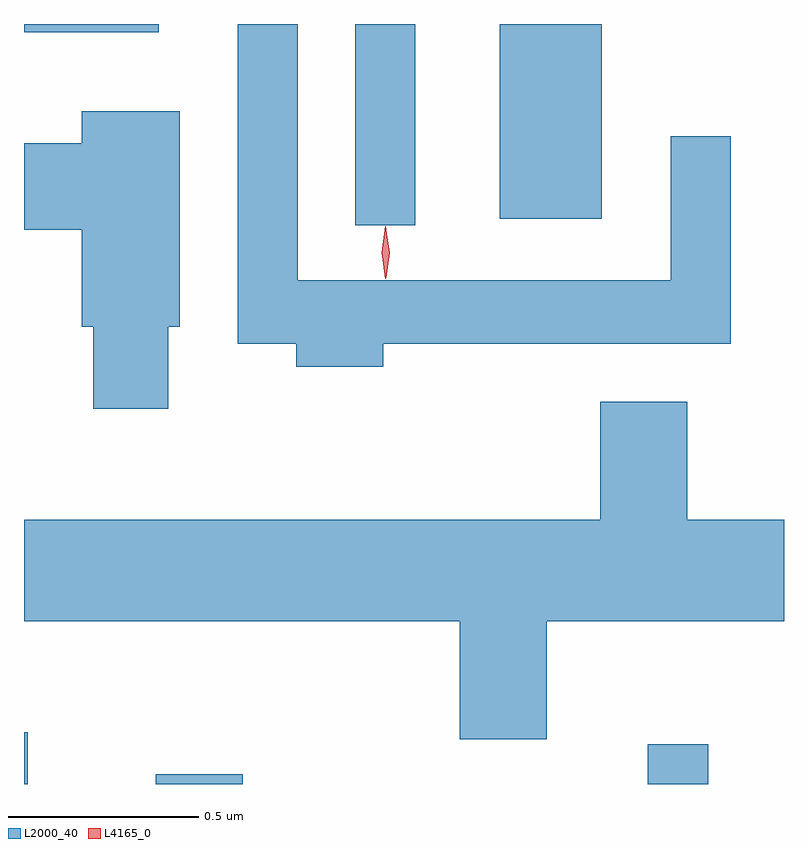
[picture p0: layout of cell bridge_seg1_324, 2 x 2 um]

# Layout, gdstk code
import gdstk
lib = gdstk.Library(unit=1e-6, precision=1e-09)
def R(c, l, rs):  # rectangles x0, y0, x1, y1
    for r in rs: c.add(gdstk.rectangle(r[:2], r[2:], *l))
def P(c, l, *ps):  # polygons
    for p in ps: c.add(gdstk.Polygon(p, *l))
L2000_40 = (2000, 40)
L4165_0 = (4165, 0)

bridge_seg1_324 = lib.new_cell('bridge_seg1_324')
R(bridge_seg1_324, L2000_40, [(890.734,881.388,890.744,881.524), (891.081,881.388,891.309,881.414), (892.376,881.388,892.534,881.493), (891.606,882.858,891.764,883.388), (891.986,882.876,892.254,883.388), (890.734,883.366,891.089,883.388)])
P(bridge_seg1_324, L2000_40, [(891.679,882.546),(892.594,882.546),(892.594,883.093),(892.436,883.093),(892.436,882.714),(891.454,882.714),(891.454,883.388),(891.296,883.388),(891.296,882.546),(891.451,882.546),(891.451,882.486),(891.679,882.486)],
  [(891.114,882.591),(891.144,882.591),(891.144,883.159),(890.886,883.159),(890.886,883.074),(890.734,883.074),(890.734,882.846),(890.886,882.846),(890.886,882.591),(890.916,882.591),(890.916,882.376),(891.114,882.376)],
  [(892.109,881.816),(892.734,881.816),(892.734,882.084),(892.479,882.084),(892.479,882.394),(892.251,882.394),(892.251,882.084),(890.734,882.084),(890.734,881.816),(891.881,881.816),(891.881,881.506),(892.109,881.506)])
P(bridge_seg1_324, L4165_0, [(891.686,882.719),(891.686,882.72),(891.676,882.786),(891.686,882.852),(891.686,882.853),(891.686,882.852),(891.696,882.786),(891.687,882.72)],
  [(891.685,882.717),(891.676,882.787),(891.685,882.856),(891.686,882.856),(891.686,882.856),(891.695,882.787),(891.686,882.717),(891.686,882.717)])

lib.write_gds('bridge_seg1_324.gds')
